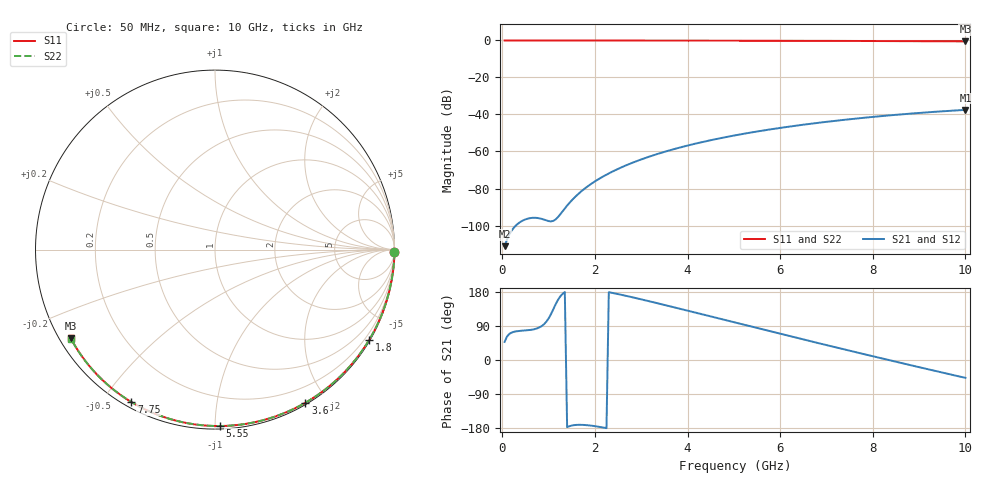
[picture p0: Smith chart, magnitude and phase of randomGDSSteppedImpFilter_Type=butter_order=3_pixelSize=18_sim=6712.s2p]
! freq	dB(S11)	phase(S11)	dB(S12)	phase(S12)
!  dB(S21)	phase(S21)	dB(S22)	phase(S22)
!S-par simulation data
#  GHz  S  DB  R 50
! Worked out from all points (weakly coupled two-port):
!   200 points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, 50 MHz to 10 GHz, reference 50 ohm
!   highest |S21| = -37.51 dB at 10 GHz (marker M1); lowest = -111.2 dB at 50 MHz (marker M2)
!   lowest |S11| = -0.5 dB at 10 GHz (marker M3), VSWR 34.10, Z = 1.58 - j14.2 ohm
!   |S11| at or under -10 dB: nowhere
!   |S22| runs from -0.5 to 0.0 dB; largest |S21 - S12| = 0
!   S11 on the Smith chart (normalised r, x): 50 MHz: open; 1.8 GHz: 0.03, -3.67; 3.6 GHz: 0.02, -1.75; 5.55 GHz: 0.02, -1.03; 7.75 GHz: 0.02, -0.59; 10 GHz: 0.03, -0.28
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0.05  -0.00 -0.9  -111.16 47.8  -111.16 47.8  -0.00 -0.9
0.45  -0.01 -7.7  -97.22 77.6  -97.22 77.6  -0.01 -7.7
0.9  -0.02 -15.4  -96.79 94.3  -96.79 94.3  -0.02 -15.3
1.3  -0.03 -22.1  -92.37 174.3  -92.37 174.3  -0.03 -22.0
1.75  -0.04 -29.7  -80.62 -171.3  -80.62 -171.3  -0.04 -29.4
1.8  -0.04 -30.5  -79.64 -171.7  -79.64 -171.7  -0.04 -30.3
1.95  -0.04 -33.0  -76.97 -173.7  -76.97 -173.7  -0.04 -32.7
2.1  -0.05 -35.4  -74.62 -176.5  -74.62 -176.5  -0.05 -35.2
2.3  -0.05 -38.7  -71.84 179.0  -71.84 179.0  -0.05 -38.4
2.5  -0.05 -42.0  -69.39 174.0  -69.39 174.0  -0.05 -41.7
2.9  -0.06 -48.4  -65.21 163.0  -65.21 163.0  -0.06 -48.1
3.4  -0.08 -56.3  -60.95 148.3  -60.95 148.3  -0.07 -56.0
3.6  -0.08 -59.4  -59.46 142.3  -59.46 142.3  -0.08 -59.1
4.3  -0.10 -70.2  -55.00 121.1  -55.00 121.1  -0.10 -69.7
5.05  -0.13 -81.3  -51.16 98.1  -51.16 98.1  -0.12 -80.8
5.55  -0.15 -88.5  -48.99 82.9  -48.99 82.9  -0.14 -88.0
6.1  -0.17 -96.3  -46.89 66.2  -46.89 66.2  -0.17 -95.8
6.7  -0.20 -104.6  -44.88 48.3  -44.88 48.3  -0.20 -104.1
7.75  -0.28 -118.7  -41.92 17.2  -41.92 17.2  -0.27 -118.3
8.35  -0.33 -126.7  -40.51 -0.2  -40.51 -0.2  -0.33 -126.3
9.2  -0.41 -137.8  -38.80 -24.6  -38.80 -24.6  -0.41 -137.5
10  -0.51 -148.4  -37.51 -47.1  -37.51 -47.1  -0.50 -148.2
